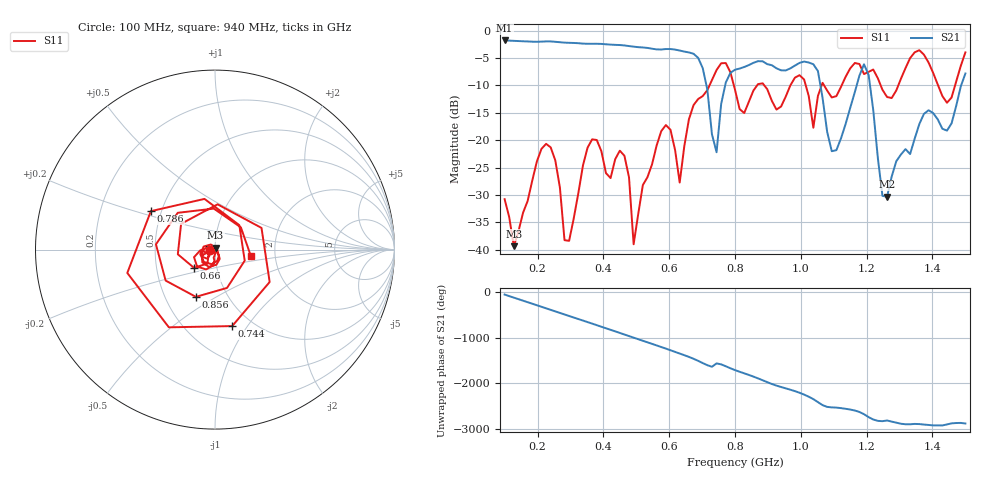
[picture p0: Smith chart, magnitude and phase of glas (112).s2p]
! NanoVNA-App
! Date: 2025-09-25 17:39:39
! Start: 100MHz Stop: 1,5GHz Points: 101
! S-Parameter data: F S11 S21 S12 S22
# Hz S RI R 50
!  Frequency  S11_Real  S11_Imag  S21_Real  S21_Imag  S12_Real  S12_Imag  S22_Real  S22_Imag
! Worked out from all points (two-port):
!   101 points, 100 MHz to 1.5 GHz, reference 50 ohm
!   highest |S21| = -1.80 dB at 100 MHz (marker M1); lowest = -30.3 dB at 1.262 GHz (marker M2)
!   |S21| within 3 dB of the highest: start of sweep to 684.7 MHz
!   lowest |S11| = -39.4 dB at 128 MHz (marker M3), VSWR 1.02, Z = 50.3 + j1.03 ohm
!   |S11| at or under -10 dB: start of sweep to 722.6 MHz; 796.5 MHz to 867.2 MHz (70.73 MHz wide, 8.5 % of centre); 888.9 MHz to 968.2 MHz (79.28 MHz wide, 8.54 % of centre)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
!   S12 and S22 are empty: the file has one direction only
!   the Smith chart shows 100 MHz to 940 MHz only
!   S11 on the Smith chart (normalised r, x): 100 MHz: 0.94, -0.01; 660 MHz: 0.78, -0.16; 744 MHz: 0.81, -0.85; 786 MHz: 0.44, +0.23; 856 MHz: 0.71, -0.41; 940 MHz: 1.49, -0.11
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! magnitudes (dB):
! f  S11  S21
! 100 MHz  -30.8  -1.8
! 128 MHz  -39.4  -1.9
! 212 MHz  -21.6  -2.0
! 282 MHz  -38.3  -2.2
! 338 MHz  -24.6  -2.4
! 464 MHz  -22.8  -2.7
! 492 MHz  -39.0  -2.9
! 576 MHz  -18.3  -3.4
! 632 MHz  -27.8  -3.6
! 660 MHz  -16.2  -4.0
! 744 MHz  -7.2  -22.2
! 786 MHz  -7.6  -7.7
! 800 MHz  -10.8  -7.1
! 856 MHz  -10.9  -5.9
! 940 MHz  -13.9  -7.2
! 996 MHz  -8.1  -5.9
! 1.038 GHz  -17.7  -6.1
! 1.094 GHz  -12.2  -22.0
! 1.192 GHz  -7.9  -6.1
! 1.262 GHz  -12.1  -30.3
! 1.276 GHz  -12.3  -26.7
! 1.5 GHz  -4.0  -7.8
